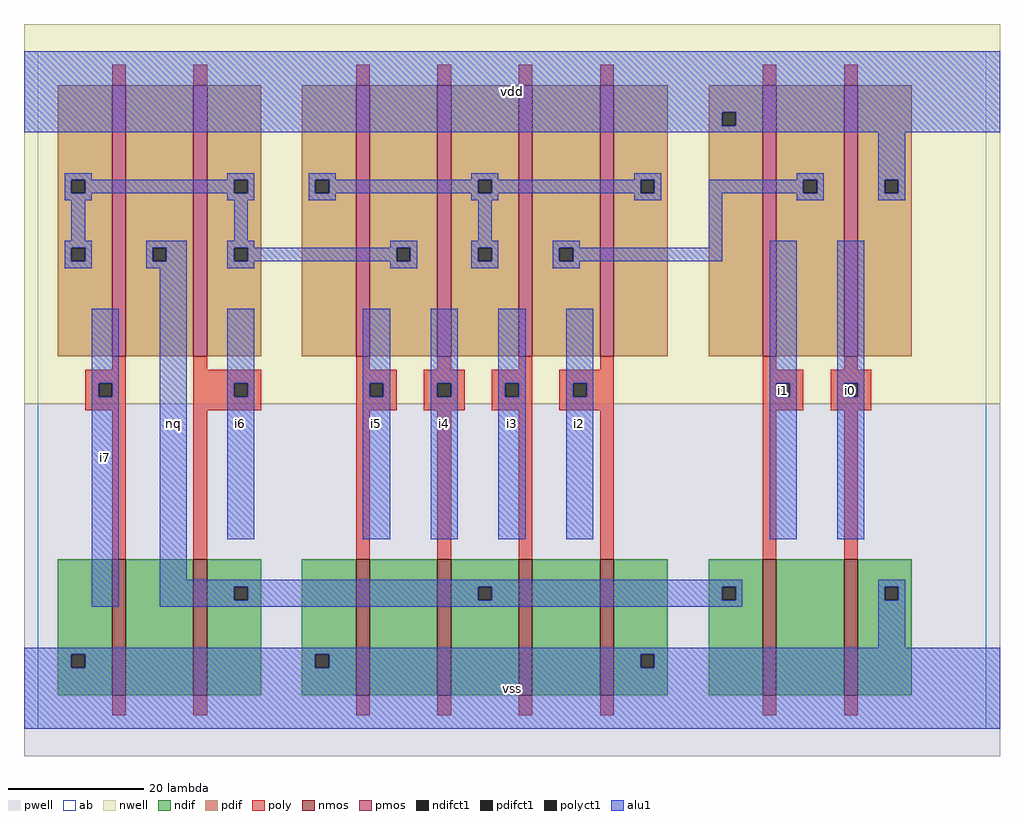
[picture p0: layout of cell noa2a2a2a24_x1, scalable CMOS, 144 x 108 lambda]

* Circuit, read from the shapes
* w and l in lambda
.subckt noa2a2a2a24_x1 i0 i1 i2 i3 i4 i5 i6 i7 nq vdd vss
M1 n1 i7 vss VSUBS nfet w=20 l=2
M2 nq i6 n1 VSUBS nfet w=20 l=2
M3 n2 i5 vss VSUBS nfet w=20 l=2
M4 nq i4 n2 VSUBS nfet w=20 l=2
M5 n3 i3 nq VSUBS nfet w=20 l=2
M6 vss i2 n3 VSUBS nfet w=20 l=2
M7 n4 i1 nq VSUBS nfet w=20 l=2
M8 vss i0 n4 VSUBS nfet w=20 l=2
M9 nq i7 n5 n6 pfet w=40 l=2
M10 n5 i6 nq n6 pfet w=40 l=2
M11 n5 i5 n7 n6 pfet w=40 l=2
M12 n7 i4 n5 n6 pfet w=40 l=2
M13 n8 i3 n7 n6 pfet w=40 l=2
M14 n7 i2 n8 n6 pfet w=40 l=2
M15 n8 i1 vdd n6 pfet w=40 l=2
M16 vdd i0 n8 n6 pfet w=40 l=2
.ends

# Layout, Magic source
magic
tech scmos
<< ab >>
rect 0 0 140 100
<< nwell >>
rect -2 48 142 104
<< pwell >>
rect -2 -4 142 48
<< poly >>
rect 11 95 13 98
rect 23 95 25 98
rect 47 95 49 98
rect 59 95 61 98
rect 71 95 73 98
rect 83 95 85 98
rect 107 95 109 98
rect 119 95 121 98
rect 11 53 13 55
rect 7 51 13 53
rect 7 49 9 51
rect 11 49 13 51
rect 7 47 13 49
rect 11 25 13 47
rect 23 53 25 55
rect 47 53 49 55
rect 59 53 61 55
rect 71 53 73 55
rect 83 53 85 55
rect 23 51 33 53
rect 23 49 29 51
rect 31 49 33 51
rect 23 47 33 49
rect 47 51 53 53
rect 47 49 49 51
rect 51 49 53 51
rect 47 47 53 49
rect 57 51 63 53
rect 57 49 59 51
rect 61 49 63 51
rect 57 47 63 49
rect 67 51 73 53
rect 67 49 69 51
rect 71 49 73 51
rect 67 47 73 49
rect 77 51 85 53
rect 77 49 79 51
rect 81 49 85 51
rect 77 47 85 49
rect 23 25 25 47
rect 47 25 49 47
rect 59 25 61 47
rect 71 25 73 47
rect 83 25 85 47
rect 107 53 109 55
rect 119 53 121 55
rect 107 51 113 53
rect 107 49 109 51
rect 111 49 113 51
rect 107 47 113 49
rect 117 51 123 53
rect 117 49 119 51
rect 121 49 123 51
rect 117 47 123 49
rect 107 25 109 47
rect 119 25 121 47
rect 11 2 13 5
rect 23 2 25 5
rect 47 2 49 5
rect 59 2 61 5
rect 71 2 73 5
rect 83 2 85 5
rect 107 2 109 5
rect 119 2 121 5
<< ndif >>
rect 3 11 11 25
rect 3 9 5 11
rect 7 9 11 11
rect 3 5 11 9
rect 13 5 23 25
rect 25 21 33 25
rect 25 19 29 21
rect 31 19 33 21
rect 25 5 33 19
rect 39 11 47 25
rect 39 9 41 11
rect 43 9 47 11
rect 39 5 47 9
rect 49 5 59 25
rect 61 21 71 25
rect 61 19 65 21
rect 67 19 71 21
rect 61 5 71 19
rect 73 5 83 25
rect 85 11 93 25
rect 85 9 89 11
rect 91 9 93 11
rect 85 5 93 9
rect 99 21 107 25
rect 99 19 101 21
rect 103 19 107 21
rect 99 5 107 19
rect 109 5 119 25
rect 121 21 129 25
rect 121 19 125 21
rect 127 19 129 21
rect 121 5 129 19
<< pdif >>
rect 3 81 11 95
rect 3 79 5 81
rect 7 79 11 81
rect 3 71 11 79
rect 3 69 5 71
rect 7 69 11 71
rect 3 55 11 69
rect 13 71 23 95
rect 13 69 17 71
rect 19 69 23 71
rect 13 55 23 69
rect 25 81 33 95
rect 25 79 29 81
rect 31 79 33 81
rect 25 71 33 79
rect 25 69 29 71
rect 31 69 33 71
rect 25 55 33 69
rect 39 81 47 95
rect 39 79 41 81
rect 43 79 47 81
rect 39 55 47 79
rect 49 71 59 95
rect 49 69 53 71
rect 55 69 59 71
rect 49 55 59 69
rect 61 81 71 95
rect 61 79 65 81
rect 67 79 71 81
rect 61 71 71 79
rect 61 69 65 71
rect 67 69 71 71
rect 61 55 71 69
rect 73 71 83 95
rect 73 69 77 71
rect 79 69 83 71
rect 73 55 83 69
rect 85 81 93 95
rect 85 79 89 81
rect 91 79 93 81
rect 85 55 93 79
rect 99 91 107 95
rect 99 89 101 91
rect 103 89 107 91
rect 99 55 107 89
rect 109 81 119 95
rect 109 79 113 81
rect 115 79 119 81
rect 109 55 119 79
rect 121 81 129 95
rect 121 79 125 81
rect 127 79 129 81
rect 121 55 129 79
<< alu1 >>
rect -2 91 142 100
rect -2 89 101 91
rect 103 89 142 91
rect -2 88 142 89
rect 4 81 8 82
rect 28 81 32 82
rect 4 79 5 81
rect 7 79 29 81
rect 31 79 32 81
rect 4 78 8 79
rect 28 78 32 79
rect 40 81 44 82
rect 64 81 68 82
rect 88 81 92 82
rect 112 81 116 82
rect 40 79 41 81
rect 43 79 65 81
rect 67 79 89 81
rect 91 79 92 81
rect 40 78 44 79
rect 64 78 68 79
rect 88 78 92 79
rect 99 79 113 81
rect 115 79 116 81
rect 5 72 7 78
rect 29 72 31 78
rect 65 72 67 78
rect 4 71 8 72
rect 4 69 5 71
rect 7 69 8 71
rect 4 68 8 69
rect 16 71 22 72
rect 16 69 17 71
rect 19 69 22 71
rect 16 68 22 69
rect 28 71 32 72
rect 52 71 56 72
rect 28 69 29 71
rect 31 69 53 71
rect 55 69 56 71
rect 28 68 32 69
rect 52 68 56 69
rect 64 71 68 72
rect 64 69 65 71
rect 67 69 68 71
rect 64 68 68 69
rect 76 71 80 72
rect 99 71 101 79
rect 112 78 116 79
rect 124 81 128 88
rect 124 79 125 81
rect 127 79 128 81
rect 124 78 128 79
rect 76 69 77 71
rect 79 69 101 71
rect 76 68 80 69
rect 8 51 12 62
rect 8 49 9 51
rect 11 49 12 51
rect 8 18 12 49
rect 18 22 22 68
rect 28 51 32 62
rect 28 49 29 51
rect 31 49 32 51
rect 28 28 32 49
rect 48 51 52 62
rect 48 49 49 51
rect 51 49 52 51
rect 48 28 52 49
rect 58 51 62 62
rect 58 49 59 51
rect 61 49 62 51
rect 58 28 62 49
rect 68 51 72 62
rect 68 49 69 51
rect 71 49 72 51
rect 68 28 72 49
rect 78 51 82 62
rect 78 49 79 51
rect 81 49 82 51
rect 78 28 82 49
rect 108 51 112 72
rect 108 49 109 51
rect 111 49 112 51
rect 108 28 112 49
rect 118 51 122 72
rect 118 49 119 51
rect 121 49 122 51
rect 118 28 122 49
rect 18 21 104 22
rect 18 19 29 21
rect 31 19 65 21
rect 67 19 101 21
rect 103 19 104 21
rect 18 18 104 19
rect 124 21 128 22
rect 124 19 125 21
rect 127 19 128 21
rect 124 12 128 19
rect -2 11 142 12
rect -2 9 5 11
rect 7 9 41 11
rect 43 9 89 11
rect 91 9 142 11
rect -2 0 142 9
<< nmos >>
rect 11 5 13 25
rect 23 5 25 25
rect 47 5 49 25
rect 59 5 61 25
rect 71 5 73 25
rect 83 5 85 25
rect 107 5 109 25
rect 119 5 121 25
<< pmos >>
rect 11 55 13 95
rect 23 55 25 95
rect 47 55 49 95
rect 59 55 61 95
rect 71 55 73 95
rect 83 55 85 95
rect 107 55 109 95
rect 119 55 121 95
<< polyct1 >>
rect 9 49 11 51
rect 29 49 31 51
rect 49 49 51 51
rect 59 49 61 51
rect 69 49 71 51
rect 79 49 81 51
rect 109 49 111 51
rect 119 49 121 51
<< ndifct1 >>
rect 5 9 7 11
rect 29 19 31 21
rect 41 9 43 11
rect 65 19 67 21
rect 89 9 91 11
rect 101 19 103 21
rect 125 19 127 21
<< pdifct1 >>
rect 5 79 7 81
rect 5 69 7 71
rect 17 69 19 71
rect 29 79 31 81
rect 29 69 31 71
rect 41 79 43 81
rect 53 69 55 71
rect 65 79 67 81
rect 65 69 67 71
rect 77 69 79 71
rect 89 79 91 81
rect 101 89 103 91
rect 113 79 115 81
rect 125 79 127 81
<< labels >>
rlabel alu1 20 45 20 45 6 nq
rlabel alu1 10 40 10 40 6 i7
rlabel alu1 50 45 50 45 6 i5
rlabel alu1 30 45 30 45 6 i6
rlabel alu1 70 6 70 6 6 vss
rlabel alu1 70 45 70 45 6 i3
rlabel alu1 80 45 80 45 6 i2
rlabel alu1 60 45 60 45 6 i4
rlabel alu1 70 94 70 94 6 vdd
rlabel polyct1 110 50 110 50 6 i1
rlabel polyct1 120 50 120 50 6 i0
<< end >>
